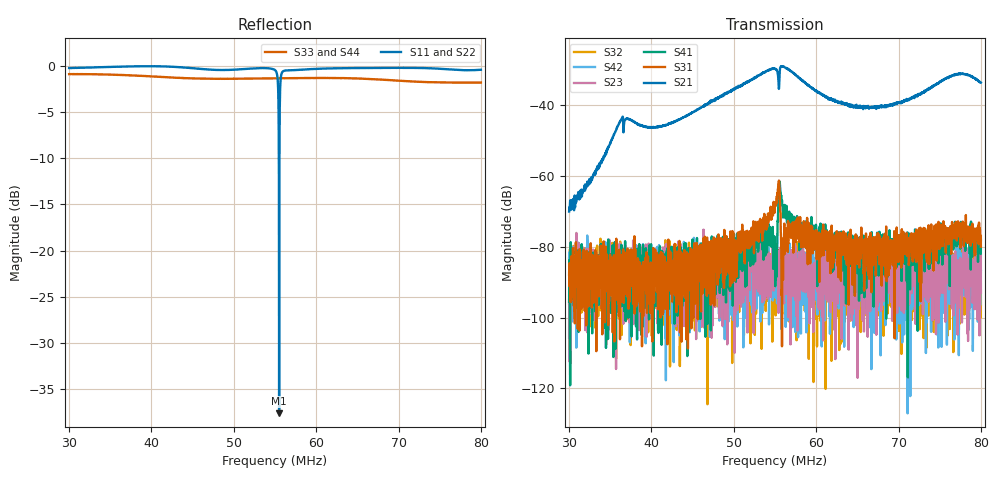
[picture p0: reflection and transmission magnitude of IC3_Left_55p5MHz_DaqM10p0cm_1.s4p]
#  HZ  S  DB  R  50.00
! Rohde & Schwarz Vector Network Analyzer
! Rohde-Schwarz,ZNB8-4Port,1311601044102961,2.82
! Created: UTC 2/13/2019, 9:55:32 AM
! freq[Hz]  db:S11  ang:S11  db:S12  ang:S12  db:S13  ang:S13  db:S14  ang:S14
!  db:S21  ang:S21  db:S22  ang:S22  db:S23  ang:S23  db:S24  ang:S24
!  db:S31  ang:S31  db:S32  ang:S32  db:S33  ang:S33  db:S34  ang:S34
!  db:S41  ang:S41  db:S42  ang:S42  db:S43  ang:S43  db:S44  ang:S44
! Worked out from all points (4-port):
!   2001 points, 30 MHz to 80 MHz, reference 50 ohm
!   strongest paths, dB at 30 MHz, 42.5 MHz, 55 MHz, 67.5 MHz, 80 MHz:
!     S21: -70.0, -44.8, -29.6, -40.6, -33.6
!     S31: -87.8, -95.5, -67.9, -82.0, -79.9
!     S41: -95.5, -83.9, -81.8, -81.6, -78.1
!     S23: -96.1, -87.5, -82.1, -90.5, -93.0
!     S42: -105.7, -87.1, -85.3, -87.7, -86.7
!     S32: -83.3, -87.8, -83.3, -81.4, -96.4
!   lowest |S11| = -37.6 dB at 55.5 MHz (marker M1), VSWR 1.03, Z = 48.9 + j0.737 ohm
!   |S11| at or under -10 dB: 55.46505 MHz to 55.53815 MHz (73.1 kHz wide, 0.132 % of centre)
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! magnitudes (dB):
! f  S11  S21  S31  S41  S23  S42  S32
! 30 MHz  -0.3  -70.0  -87.8  -95.5  -96.1  -105.7  -83.3
! 36.3 MHz  -0.1  -44.1  -86.6  -95.2  -88.1  -90.5  -96.4
! 55 MHz  -0.5  -29.6  -67.9  -81.8  -82.1  -85.3  -83.3
! 55.5 MHz  -37.6  -34.7  -61.4  -62.3  -86.1  -84.6  -83.6
! 56 MHz  -0.6  -29.1  -77.9  -69.9  -91.3  -91.6  -83.8
! 65.65 MHz  -0.3  -40.2  -81.6  -80.6  -100.8  -86.9  -87.0
! 80 MHz  -0.5  -33.6  -79.9  -78.1  -93.0  -86.7  -96.4
